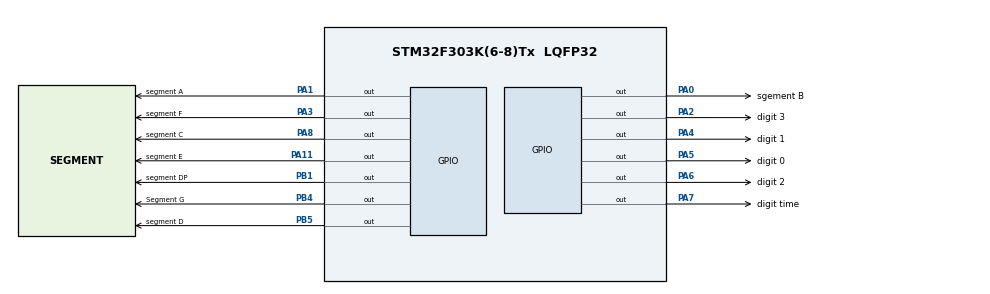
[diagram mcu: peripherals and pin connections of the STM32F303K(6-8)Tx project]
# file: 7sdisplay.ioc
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Mcu.Family=STM32F3
Mcu.Name=STM32F303K(6-8)Tx
Mcu.Package=LQFP32
NVIC.PriorityGroup=NVIC_PRIORITYGROUP_4
PA0.GPIO_Label=sgement B
PA0.Signal=GPIO_Output
PA1.GPIO_Label=segment A
PA1.Signal=GPIO_Output
PA11.GPIO_Label=segment E
PA11.Signal=GPIO_Output
PA2.GPIO_Label=digit 3
PA2.Signal=GPIO_Output
PA3.GPIO_Label=segment F
PA3.Signal=GPIO_Output
PA4.GPIO_Label=digit 1
PA4.Signal=GPIO_Output
PA5.GPIO_Label=digit 0
PA5.Signal=GPIO_Output
PA6.GPIO_Label=digit 2
PA6.Signal=GPIO_Output
PA7.GPIO_Label=digit time
PA7.Signal=GPIO_Output
PA8.GPIO_Label=segment C
PA8.Signal=GPIO_Output
PB1.GPIO_Label=segment DP
PB1.Signal=GPIO_Output
PB4.GPIO_Label=Segment G
PB4.Signal=GPIO_Output
PB5.GPIO_Label=segment D
PB5.Signal=GPIO_Output
ProjectManager.HeapSize=0x200
ProjectManager.StackSize=0x400
ProjectManager.TargetToolchain=STM32CubeIDE
RCC.AHBFreq_Value=8000000
RCC.APB1Freq_Value=8000000
RCC.APB2Freq_Value=8000000
RCC.CortexFreq_Value=8000000
RCC.HSE_VALUE=8000000
RCC.HSI_VALUE=8000000
RCC.SYSCLKFreq_VALUE=8000000
board=custom

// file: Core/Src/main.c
/* USER CODE BEGIN Header */
/**
  ******************************************************************************
  * @file           : main.c
  * @brief          : Main program body
  ******************************************************************************
  * @attention
  *
  * <h2><center>&copy; Copyright (c) 2020 STMicroelectronics.
  * All rights reserved.</center></h2>
  *
  * This software component is licensed by ST under BSD 3-Clause license,
  * the "License"; You may not use this file except in compliance with the
  * License. You may obtain a copy of the License at:
  *                        opensource.org/licenses/BSD-3-Clause
  *
  ******************************************************************************
  */
/* USER CODE END Header */
#include "main.h"
#include "letters.h"
#include "digits.h"
#include <stdbool.h>

enum move {LEFT,RIGHT};
enum move moving = RIGHT;

void SystemClock_Config(void);
static void MX_GPIO_Init(void);

int main(void)
{

  /* MCU Configuration--------------------------------------------------------*/

  /* Reset of all peripherals, Initializes the Flash interface and the Systick. */

  LL_APB2_GRP1_EnableClock(LL_APB2_GRP1_PERIPH_SYSCFG);
  LL_APB1_GRP1_EnableClock(LL_APB1_GRP1_PERIPH_PWR);

  NVIC_SetPriorityGrouping(NVIC_PRIORITYGROUP_4);

  /* System interrupt init*/

  /* Configure the system clock */
  SystemClock_Config();

  /* Initialize all configured peripherals */
  MX_GPIO_Init();

  /* Infinite loop */
  while (1)
  {

	  processToDisplay();

  }
}

void SystemClock_Config(void)
{
  LL_FLASH_SetLatency(LL_FLASH_LATENCY_0);
  while(LL_FLASH_GetLatency()!= LL_FLASH_LATENCY_0)
  {
  }
  LL_RCC_HSI_Enable();

   /* Wait till HSI is ready */
  while(LL_RCC_HSI_IsReady() != 1)
  {

  }
  LL_RCC_HSI_SetCalibTrimming(16);
  LL_RCC_SetAHBPrescaler(LL_RCC_SYSCLK_DIV_1);
  LL_RCC_SetAPB1Prescaler(LL_RCC_APB1_DIV_1);
  LL_RCC_SetAPB2Prescaler(LL_RCC_APB1_DIV_1);
  LL_RCC_SetSysClkSource(LL_RCC_SYS_CLKSOURCE_HSI);

   /* Wait till System clock is ready */
  while(LL_RCC_GetSysClkSource() != LL_RCC_SYS_CLKSOURCE_STATUS_HSI)
  {

  }
  LL_Init1msTick(8000000);
  LL_SetSystemCoreClock(8000000);
}

static void MX_GPIO_Init(void)
{
  LL_GPIO_InitTypeDef GPIO_InitStruct = {0};

  /* GPIO Ports Clock Enable */
  LL_AHB1_GRP1_EnableClock(LL_AHB1_GRP1_PERIPH_GPIOA);
  LL_AHB1_GRP1_EnableClock(LL_AHB1_GRP1_PERIPH_GPIOB);

  /**/
  LL_GPIO_ResetOutputPin(GPIOA, segment_B_Pin|segment_A_Pin|digit_3_Pin|segment_F_Pin
                          |digit_1_Pin|digit_0_Pin|digit_2_Pin|digit_time_Pin
                          |segment_C_Pin|segment_E_Pin);

  /**/
  LL_GPIO_ResetOutputPin(GPIOB, segment_DP_Pin|segment_G_Pin|segment_D_Pin);

  /**/
  GPIO_InitStruct.Pin = segment_B_Pin|segment_A_Pin|digit_3_Pin|segment_F_Pin
                          |digit_1_Pin|digit_0_Pin|digit_2_Pin|digit_time_Pin
                          |segment_C_Pin|segment_E_Pin;
  GPIO_InitStruct.Mode = LL_GPIO_MODE_OUTPUT;
  GPIO_InitStruct.Speed = LL_GPIO_SPEED_FREQ_LOW;
  GPIO_InitStruct.OutputType = LL_GPIO_OUTPUT_PUSHPULL;
  GPIO_InitStruct.Pull = LL_GPIO_PULL_NO;
  LL_GPIO_Init(GPIOA, &GPIO_InitStruct);

  /**/
  GPIO_InitStruct.Pin = segment_DP_Pin|segment_G_Pin|segment_D_Pin;
  GPIO_InitStruct.Mode = LL_GPIO_MODE_OUTPUT;
  GPIO_InitStruct.Speed = LL_GPIO_SPEED_FREQ_LOW;
  GPIO_InitStruct.OutputType = LL_GPIO_OUTPUT_PUSHPULL;
  GPIO_InitStruct.Pull = LL_GPIO_PULL_NO;
  LL_GPIO_Init(GPIOB, &GPIO_InitStruct);

}

/* USER CODE BEGIN 4 */

void processToDisplay(void){

	char name_ID[] = {"Vladimir_Benak_86422"};
	int len = sizeof name_ID / sizeof *name_ID;

	static uint8_t position1 = 0;
	static uint8_t position2 = 1;
	static uint8_t position3 = 2;
	static uint8_t position4 = 3;

	static bool start = true;

	if(moving == RIGHT && start == false){

		position1+=1;
		position2+=1;
		position3+=1;
		position4+=1;

	}

	if(moving == LEFT && start == false){

		position1-=1;
		position2-=1;
		position3-=1;
		position4-=1;

	}

	if(position1 == 0)
		moving = RIGHT;

	if(position4 == len-2)
		moving = LEFT;

	uint8_t i = 0;

	while(i<65){

		setDigitOne();
		lightTheChar(name_ID[position1]);
		LL_mDelay(1);
		setDigitTwo();
		lightTheChar(name_ID[position2]);
		LL_mDelay(1);
		setDigitThree();
		lightTheChar(name_ID[position3]);
		LL_mDelay(1);
		setDigitFour();
		lightTheChar(name_ID[position4]);
		LL_mDelay(1);

		i++;

	}

	start = false;

}

void lightTheChar(uint8_t ch){

	if(ch=='V')
		V();

	if(ch=='l')
		L();

	if(ch=='a' )
		A();

	if(ch=='d')
		D();

	if(ch=='i')
		I();

	if(ch=='m')
		M();

	if(ch=='r')
		R();

	if(ch=='B')
		B();

	if(ch=='e')
		E();

	if(ch=='n')
		N();

	if(ch=='k')
		K();

	if(ch=='8')
		eight();

	if(ch =='6')
		six();

	if(ch=='4')
		four();

	if(ch =='2')
		two();

	if(ch =='_')
		_();

}

/* USER CODE END 4 */

void Error_Handler(void)
{
}

/************************ (C) COPYRIGHT STMicroelectronics *****END OF FILE****/
